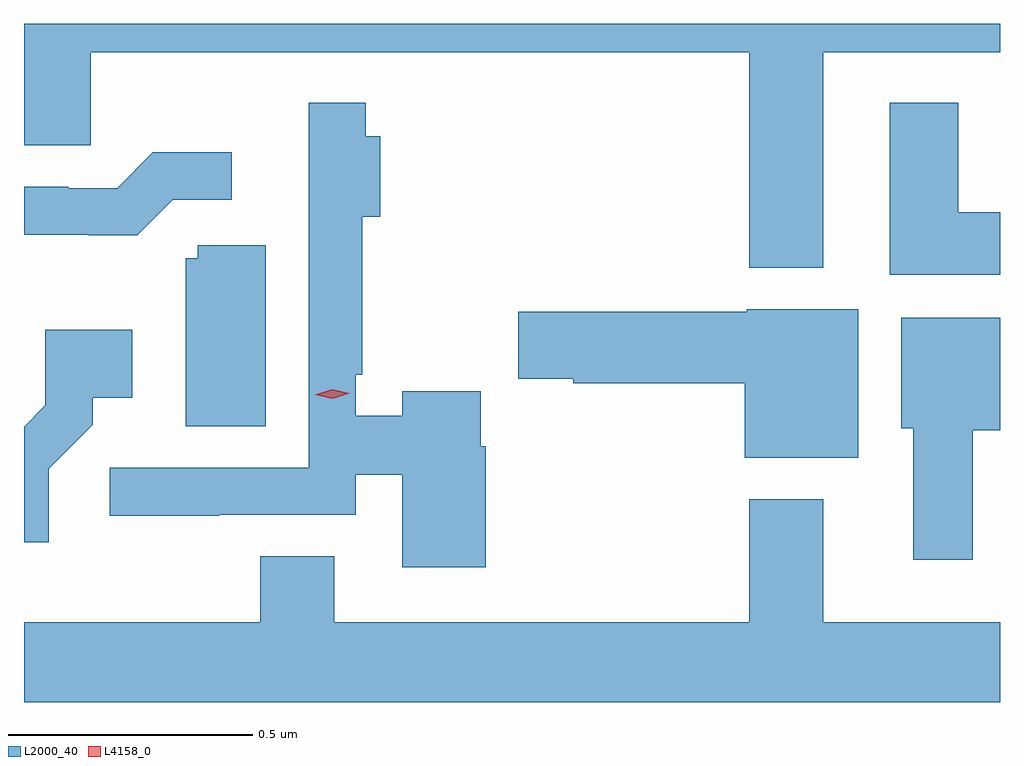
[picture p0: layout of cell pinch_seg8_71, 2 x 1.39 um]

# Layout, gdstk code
import gdstk
lib = gdstk.Library(unit=1e-6, precision=1e-09)
def P(c, l, *ps):  # polygons
    for p in ps: c.add(gdstk.Polygon(p, *l))
L2000_40 = (2000, 40)
L4158_0 = (4158, 0)

pinch_seg8_71 = lib.new_cell('pinch_seg8_71')
P(pinch_seg8_71, L2000_40, [(989.137,1103.18),(989.499,1103.18),(989.499,1103.239),(987.499,1103.239),(987.499,1102.99),(987.636,1102.99),(987.636,1103.18),(988.985,1103.18),(988.985,1102.739),(989.137,1102.739)],
  [(989.499,1102.852),(989.413,1102.852),(989.413,1103.077),(989.273,1103.077),(989.273,1102.724),(989.499,1102.724)],
  [(988.445,1102.373),(988.435,1102.373),(988.435,1102.486),(988.274,1102.486),(988.274,1102.435),(988.179,1102.435),(988.179,1102.519),(988.192,1102.519),(988.192,1102.843),(988.229,1102.843),(988.229,1103.008),(988.199,1103.008),(988.199,1103.077),(988.082,1103.077),(988.082,1102.854),(988.083,1102.854),(988.083,1102.329),(987.675,1102.329),(987.675,1102.231),(987.899,1102.231),(987.899,1102.233),(988.179,1102.233),(988.179,1102.314),(988.274,1102.314),(988.274,1102.125),(988.445,1102.125)],
  [(987.804,1102.878),(987.925,1102.878),(987.925,1102.975),(987.763,1102.975),(987.69,1102.902),(987.59,1102.902),(987.59,1102.905),(987.499,1102.905),(987.499,1102.806),(987.632,1102.806),(987.632,1102.805),(987.731,1102.805)],
  [(987.994,1102.785),(987.855,1102.785),(987.855,1102.758),(987.83,1102.758),(987.83,1102.414),(987.994,1102.414)],
  [(989.209,1102.654),(988.98,1102.654),(988.98,1102.649),(988.512,1102.649),(988.512,1102.511),(988.624,1102.511),(988.624,1102.502),(988.976,1102.502),(988.976,1102.349),(989.209,1102.349)],
  [(989.443,1102.406),(989.499,1102.406),(989.499,1102.636),(989.297,1102.636),(989.297,1102.41),(989.321,1102.41),(989.321,1102.14),(989.443,1102.14)],
  [(987.55,1102.327),(987.64,1102.417),(987.64,1102.472),(987.721,1102.472),(987.721,1102.612),(987.543,1102.612),(987.543,1102.457),(987.499,1102.413),(987.499,1102.176),(987.55,1102.176)],
  [(989.499,1102.012),(989.137,1102.012),(989.137,1102.264),(988.985,1102.264),(988.985,1102.012),(988.135,1102.012),(988.135,1102.148),(987.983,1102.148),(987.983,1102.012),(987.499,1102.012),(987.499,1101.848),(989.499,1101.848)])
P(pinch_seg8_71, L4158_0, [(988.132,1102.47),(988.096,1102.478),(988.096,1102.478),(988.096,1102.478),(988.131,1102.49),(988.166,1102.482),(988.167,1102.482),(988.166,1102.482)])

lib.write_gds('pinch_seg8_71.gds')
